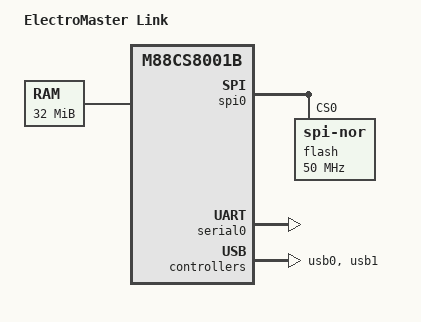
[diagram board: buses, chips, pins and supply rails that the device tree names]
/dts-v1/;

/* include mips cpu */
#include "m88cs8001b.dtsi"

/ {
    model = "ElectroMaster Link";
    compatible = "electromaster,link", "montage,m88cs8001b";
    #address-cells = <1>;
    #size-cells = <1>;

    reserved-memory {
        #address-cells = <1>;
        #size-cells = <1>;
        ranges;

        /* 1mb allocated for color*/
        fb_reserved: frame_buffer@1f80000 {
            reg = <0x01f80000 0x00100000>; /* 1 MB (0x100000) */
            no-map;
        };
    };

    chosen {
        /* bootargs?? to be edited */
        bootargs = "console=ttyS0,115200 root=/dev/mtdblock3 rw rootfstype=squashfs earlycon";
        stdout-path = "serial0:115200n8";

        framebuffer0: framebuffer@1f80000 {
            compatible = "simple-framebuffer";
            reg = <0x01f80000 0x000bb800>; /* 800 * 480 * 2 bytes = 768 KB */
            width = <800>;
            height = <480>;
            stride = <1600>;               /* 800 * 2 bytes */
            format = "r5g6b5";             /* 16-bit color */
            memory-region = <&fb_reserved>;
            status = "okay";
        };
    };

    /* memory block 1*/
    memory@0 {
        device_type = "memory";
        reg = <0x00000000 0x02000000>; /* 32 megabytes ram */
    };
};

/* 4 megabytes spi flash */
&spi0 {
    status = "okay";

    flash@0 {
        compatible = "jedec,spi-nor";
        reg = <0>;
        spi-max-frequency = <50000000>; /* 50 MHz */

        /* fixed partitions added soon..*/
    };
};

&serial0 {
    pinctrl-names = "default";
    pinctrl-0 = <&serial0_xfer>;
    status = "okay";
};

&usb0 {
    status = "okay";
};

&usb1 {
    status = "okay";
};

